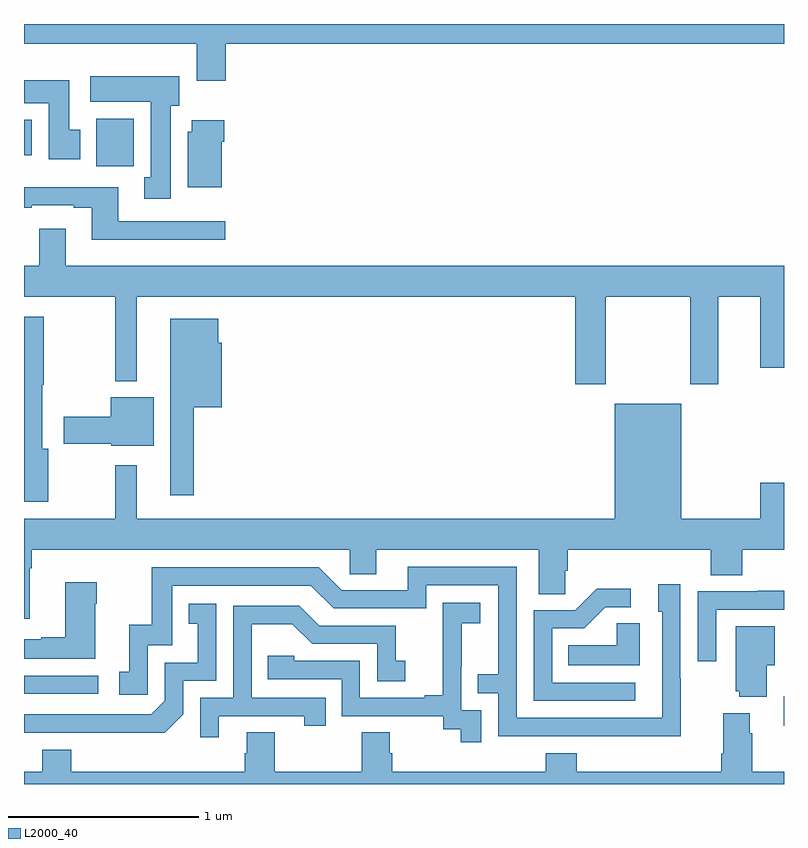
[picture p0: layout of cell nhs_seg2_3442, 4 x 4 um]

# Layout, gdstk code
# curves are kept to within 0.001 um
import gdstk
lib = gdstk.Library(unit=1e-6, precision=1e-09)
def R(c, l, rs):  # rectangles x0, y0, x1, y1
    for r in rs: c.add(gdstk.rectangle(r[:2], r[2:], *l))
def P(c, l, *ps):  # polygons
    for p in ps: c.add(gdstk.Polygon(p, *l))
L2000_40 = (2000, 40)

nhs_seg2_3442 = lib.new_cell('nhs_seg2_3442')
R(nhs_seg2_3442, L2000_40, [(296.999,584.106,297,584.262), (293,584.274,293.392,584.37), (293.381,587.052,293.577,587.302), (293,587.108,293.041,587.296)])
P(nhs_seg2_3442, L2000_40, [(294.062,587.696),(297,587.696),(297,587.8),(293,587.8),(293,587.696),(293.909,587.696),(293.909,587.502),(294.062,587.502)],
  [(293.773,587.37),(293.818,587.37),(293.818,587.524),(293.349,587.524),(293.349,587.39),(293.666,587.39),(293.666,586.993),(293.633,586.993),(293.633,586.881),(293.773,586.881)],
  [(293.296,587.244),(293.239,587.244),(293.239,587.503),(293,587.503),(293,587.384),(293.129,587.384),(293.129,587.088),(293.296,587.088)],
  [(294.04,587.18),(294.053,587.18),(294.053,587.293),(293.882,587.293),(293.882,587.232),(293.861,587.232),(293.861,586.94),(294.04,586.94)],
  [(294.058,586.761),(293.497,586.761),(293.497,586.942),(293,586.942),(293,586.833),(293.041,586.833),(293.041,586.845),(293.261,586.845),(293.261,586.833),(293.357,586.833),(293.357,586.664),(294.058,586.664)],
  [(296.061,586.364),(296.506,586.364),(296.506,585.903),(296.653,585.903),(296.653,586.364),(296.876,586.364),(296.876,585.99),(297,585.99),(297,586.528),(293.221,586.528),(293.221,586.723),(293.081,586.723),(293.081,586.528),(293,586.528),(293,586.364),(293.479,586.364),(293.479,585.92),(293.593,585.92),(293.593,586.364),(295.901,586.364),(295.901,585.903),(296.061,585.903)],
  [(293.127,585.564),(293.095,585.564),(293.095,585.902),(293.103,585.902),(293.103,586.258),(293,586.258),(293,585.285),(293.127,585.285)],
  [(293.893,585.782),(294.04,585.782),(294.04,586.122),(294.022,586.122),(294.022,586.249),(293.771,586.249),(293.771,585.321),(293.893,585.321)],
  [(293.683,585.835),(293.456,585.835),(293.456,585.734),(293.208,585.734),(293.208,585.592),(293.46,585.592),(293.46,585.581),(293.683,585.581)],
  [(293.029,584.936),(293.042,584.936),(293.042,585.032),(294.714,585.032),(294.714,584.905),(294.853,584.905),(294.853,585.032),(295.709,585.032),(295.709,584.8),(295.848,584.8),(295.848,584.923),(295.862,584.923),(295.862,585.032),(296.615,585.032),(296.615,584.899),(296.78,584.899),(296.78,585.032),(297,585.032),(297,585.385),(296.876,585.385),(296.876,585.196),(296.458,585.196),(296.458,585.802),(296.108,585.802),(296.108,585.196),(293.593,585.196),(293.593,585.478),(293.479,585.478),(293.479,585.196),(293,585.196),(293,584.67),(293.029,584.67)],
  [(296.457,584.357),(296.454,584.357),(296.454,584.851),(296.339,584.851),(296.339,584.706),(296.358,584.706),(296.358,584.148),(295.593,584.148),(295.593,584.943),(295.019,584.943),(295.019,584.82),(294.672,584.82),(294.552,584.94),(293.673,584.94),(293.673,584.638),(293.555,584.638),(293.555,584.391),(293.502,584.391),(293.502,584.271),(293.652,584.271),(293.652,584.529),(293.781,584.529),(293.781,584.844),(294.51,584.844),(294.63,584.724),(295.116,584.724),(295.116,584.847),(295.497,584.847),(295.497,584.378),(295.387,584.378),(295.387,584.277),(295.497,584.277),(295.497,584.052),(296.457,584.051)],
  [(293.374,584.75),(293.382,584.75),(293.382,584.863),(293.216,584.863),(293.216,584.573),(293.09,584.573),(293.09,584.563),(293,584.563),(293,584.459),(293.374,584.459)],
  [(296.218,584.334),(295.779,584.334),(295.779,584.619),(295.948,584.619),(296.059,584.73),(296.194,584.73),(296.194,584.828),(296.015,584.828),(295.902,584.715),(295.683,584.715),(295.683,584.238),(296.218,584.238)],
  [(296.643,584.718),(297,584.718),(297,584.816),(296.863,584.816),(296.863,584.814),(296.547,584.814),(296.547,584.445),(296.643,584.445)],
  [(295.407,584.187),(295.302,584.187),(295.302,584.417),(295.304,584.417),(295.304,584.645),(295.402,584.645),(295.402,584.755),(295.204,584.755),(295.204,584.549),(295.205,584.549),(295.205,584.266),(295.109,584.266),(295.109,584.253),(294.768,584.253),(294.768,584.448),(294.423,584.448),(294.423,584.475),(294.283,584.475),(294.283,584.352),(294.672,584.352),(294.672,584.157),(295.206,584.157),(295.206,584.089),(295.299,584.089),(295.299,584.019),(295.407,584.019)],
  [(293.838,584.166),(293.838,584.343),(294.012,584.343),(294.012,584.749),(293.866,584.749),(293.866,584.643),(293.915,584.643),(293.915,584.439),(293.742,584.439),(293.742,584.238),(293.67,584.166),(293,584.166),(293,584.07),(293.74,584.069)],
  [(294.025,584.157),(294.476,584.157),(294.476,584.106),(294.587,584.106),(294.587,584.253),(294.198,584.253),(294.198,584.642),(294.412,584.642),(294.516,584.538),(294.858,584.538),(294.858,584.34),(295.006,584.34),(295.006,584.449),(294.957,584.449),(294.957,584.634),(294.553,584.634),(294.448,584.739),(294.102,584.739),(294.102,584.253),(293.928,584.253),(293.928,584.046),(294.025,584.046)],
  [(296.242,584.645),(296.121,584.645),(296.121,584.53),(295.864,584.53),(295.864,584.426),(296.242,584.426)],
  [(296.908,584.426),(296.95,584.426),(296.95,584.629),(296.747,584.629),(296.747,584.289),(296.765,584.289),(296.765,584.258),(296.908,584.258)],
  [(297,583.864),(296.834,583.864),(296.834,584.066),(296.821,584.066),(296.821,584.173),(296.681,584.173),(296.681,583.96),(296.669,583.96),(296.669,583.864),(295.91,583.864),(295.91,583.963),(295.745,583.963),(295.745,583.864),(294.938,583.864),(294.938,583.962),(294.925,583.962),(294.925,584.072),(294.778,584.072),(294.778,583.864),(294.321,583.864),(294.321,584.072),(294.173,584.072),(294.173,583.962),(294.161,583.962),(294.161,583.864),(293.249,583.864),(293.249,583.981),(293.096,583.981),(293.096,583.864),(293,583.864),(293,583.8),(297,583.8)])

lib.write_gds('nhs_seg2_3442.gds')
